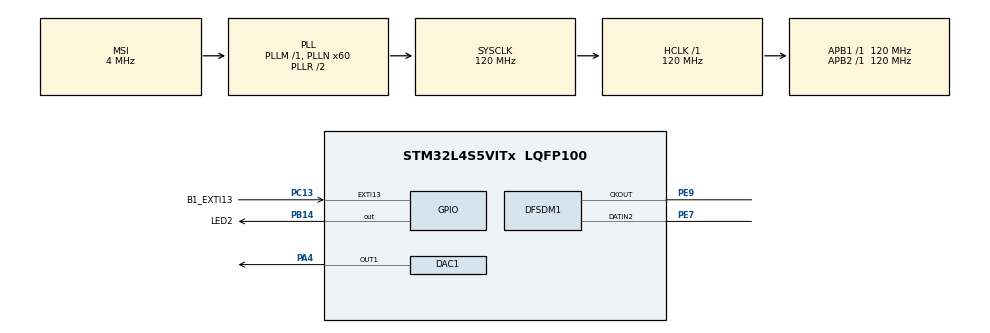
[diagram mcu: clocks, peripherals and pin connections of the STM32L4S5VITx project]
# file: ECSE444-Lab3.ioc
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DAC1.DAC_HighFrequency-DAC_OUT1=DAC_HIGH_FREQUENCY_INTERFACE_MODE_DISABLE
DAC1.DAC_Trigger-DAC_OUT1=DAC_TRIGGER_T2_TRGO
DFSDM1.Divider=60
DFSDM1.DmaMode_reg_FIL0=ENABLE
DFSDM1.FastMode_reg_FIL0=ENABLE
DFSDM1.Filter_regChannel_FIL0=DFSDM_CHANNEL_2
DFSDM1.Fosr_FIL0=250
DFSDM1.SincOrder_FIL0=DFSDM_FILTER_SINC3_ORDER
Dma.DAC1_CH1.0.Direction=DMA_MEMORY_TO_PERIPH
Dma.DAC1_CH1.0.EventEnable=DISABLE
Dma.DAC1_CH1.0.Instance=DMA1_Channel1
Dma.DAC1_CH1.0.MemDataAlignment=DMA_MDATAALIGN_WORD
Dma.DAC1_CH1.0.MemInc=DMA_MINC_ENABLE
Dma.DAC1_CH1.0.Mode=DMA_CIRCULAR
Dma.DAC1_CH1.0.PeriphDataAlignment=DMA_PDATAALIGN_HALFWORD
Dma.DAC1_CH1.0.PeriphInc=DMA_PINC_DISABLE
Dma.DAC1_CH1.0.Polarity=HAL_DMAMUX_REQUEST_GEN_RISING
Dma.DAC1_CH1.0.Priority=DMA_PRIORITY_LOW
Dma.DAC1_CH1.0.RequestNumber=1
Dma.DAC1_CH1.0.SignalID=NONE
Dma.DAC1_CH1.0.SyncEnable=DISABLE
Dma.DAC1_CH1.0.SyncPolarity=HAL_DMAMUX_SYNC_NO_EVENT
Dma.DAC1_CH1.0.SyncRequestNumber=1
Dma.DAC1_CH1.0.SyncSignalID=NONE
Dma.DFSDM1_FLT0.1.Direction=DMA_PERIPH_TO_MEMORY
Dma.DFSDM1_FLT0.1.EventEnable=DISABLE
Dma.DFSDM1_FLT0.1.Instance=DMA1_Channel2
Dma.DFSDM1_FLT0.1.MemDataAlignment=DMA_MDATAALIGN_WORD
Dma.DFSDM1_FLT0.1.MemInc=DMA_MINC_ENABLE
Dma.DFSDM1_FLT0.1.Mode=DMA_CIRCULAR
Dma.DFSDM1_FLT0.1.PeriphDataAlignment=DMA_PDATAALIGN_WORD
Dma.DFSDM1_FLT0.1.PeriphInc=DMA_PINC_DISABLE
Dma.DFSDM1_FLT0.1.Polarity=HAL_DMAMUX_REQUEST_GEN_RISING
Dma.DFSDM1_FLT0.1.Priority=DMA_PRIORITY_LOW
Dma.DFSDM1_FLT0.1.RequestNumber=1
Dma.DFSDM1_FLT0.1.SignalID=NONE
Dma.DFSDM1_FLT0.1.SyncEnable=DISABLE
Dma.DFSDM1_FLT0.1.SyncPolarity=HAL_DMAMUX_SYNC_NO_EVENT
Dma.DFSDM1_FLT0.1.SyncRequestNumber=1
Dma.DFSDM1_FLT0.1.SyncSignalID=NONE
Dma.Request0=DAC1_CH1
Dma.Request1=DFSDM1_FLT0
Mcu.Family=STM32L4
Mcu.Name=STM32L4S5VITx
Mcu.Package=LQFP100
NVIC.DMA1_Channel1_IRQn=true\:0\:0\:false\:false\:true\:false\:true\:true
NVIC.DMA1_Channel2_IRQn=true\:0\:0\:false\:false\:true\:false\:true\:true
NVIC.EXTI15_10_IRQn=true\:0\:0\:false\:false\:true\:true\:true\:true
NVIC.PriorityGroup=NVIC_PRIORITYGROUP_4
NVIC.TIM2_IRQn=true\:0\:0\:false\:false\:true\:true\:true\:true
PA4.Signal=COMP_DAC11_group
PB14.GPIO_Label=LED2
PB14.Signal=GPIO_Output
PB3\ (JTDO/TRACESWO).Signal=SYS_JTDO-SWO
PC13.GPIO_Label=B1_EXTI13
PC13.Signal=GPXTI13
PE7.Signal=S_DATAIN2DFSDM1
PE9.Signal=S_CKOUTDFSDM1
ProjectManager.HeapSize=0x200
ProjectManager.StackSize=0x400
ProjectManager.TargetToolchain=STM32CubeIDE
RCC.ADCFreq_Value=48000000
RCC.AHBFreq_Value=120000000
RCC.APB1Freq_Value=120000000
RCC.APB1TimFreq_Value=120000000
RCC.APB2Freq_Value=120000000
RCC.APB2TimFreq_Value=120000000
RCC.CortexFreq_Value=120000000
RCC.HCLKFreq_Value=120000000
RCC.HSE_VALUE=8000000
RCC.HSI48_VALUE=48000000
RCC.HSI_VALUE=16000000
RCC.LSE_VALUE=32768
RCC.MSI_VALUE=4000000
RCC.PLLN=60
RCC.PLLSAI1N=24
RCC.SYSCLKFreq_VALUE=120000000
RCC.SYSCLKSource=RCC_SYSCLKSOURCE_PLLCLK
RCC.USBFreq_Value=48000000
RCC.VCOOutputFreq_Value=240000000
SH.COMP_DAC11_group.0=DAC1_OUT1,DAC_OUT1
SH.S_CKOUTDFSDM1.0=DFSDM1_CKOUT,PDM_SPI_input_from_ch2_and_internal_clock
SH.S_DATAIN2DFSDM1.0=DFSDM1_DATIN2,PDM_SPI_input_from_ch2_and_internal_clock
TIM2.Period=15000
TIM2.TIM_MasterOutputTrigger=TIM_TRGO_UPDATE
VP_TIM2_VS_ClockSourceINT.Mode=Internal
board=B-L4S5I-IOT01A

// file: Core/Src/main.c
/* USER CODE BEGIN Header */
/**
  ******************************************************************************
  * @file           : main.c
  * @brief          : Main program body
  ******************************************************************************
  * @attention
  *
  * Copyright (c) 2026 STMicroelectronics.
  * All rights reserved.
  *
  * This software is licensed under terms that can be found in the LICENSE file
  * in the root directory of this software component.
  * If no LICENSE file comes with this software, it is provided AS-IS.
  *
  ******************************************************************************
  */
/* USER CODE END Header */
#include "main.h"

/* USER CODE BEGIN Includes */
#include "arm_math.h"
#include <stdbool.h>

/* USER CODE END Includes */

/* USER CODE BEGIN PD */

// Define pin and port names

#define B1_Pin GPIO_PIN_13
#define B1_Port GPIOC

#define LED2_Pin GPIO_PIN_14
#define LED2_Port GPIOB

// Define DAC Samples Scaling
#define SAMPLES 44
#define DAC_MAX 255 // for uint8_t
#define DAC_SCALE (2.0f/3.0f)

// Define Buffer Size for DMA
//make wayyyyy bigger
#define BUFFER_SIZE 20000

#define SINE_SAMPLES 64
#define SAMPLE_RATE 8000
#define NUM_NOTES 6
#define NOTE_DURATION_SAMPLES (SAMPLE_RATE / 2)

const uint32_t noteFreqs[NUM_NOTES] = {520, 660, 770, 880, 1100, 1300};
uint32_t noteTable[SINE_SAMPLES];
volatile uint32_t noteIndex = 0;
volatile uint32_t noteSample = 0;
volatile uint8_t currentNote = 0;
volatile uint8_t notesDone  = 0;

// state machine for states
typedef enum {
    IDLE,
    RECORDING,
    RECORDED,
    NOTES,
    PLAYBACK
} State;

/* USER CODE END PD */

DAC_HandleTypeDef hdac1;
DMA_HandleTypeDef hdma_dac1_ch1;

DFSDM_Filter_HandleTypeDef hdfsdm1_filter0;
DFSDM_Channel_HandleTypeDef hdfsdm1_channel2;
DMA_HandleTypeDef hdma_dfsdm1_flt0;

TIM_HandleTypeDef htim2;

/* USER CODE BEGIN PV */

//  Button Debouncing
static volatile uint8_t button_prev_state = 0;
static volatile uint8_t button_curr_state = 0;
static volatile uint32_t last_button_toggle_ms = 0;
static volatile uint32_t current_time_ms = 0;

// Sine Wave Array
static volatile uint8_t sine_index = 0;		// index into LUT
static volatile uint8_t sine_wave[SAMPLES];	// LUT
static float theta;								// Angle based on sine_index
static float value;								// sine value before scaling for DAC
static float checkVal;

// DFSDM Buffer
int32_t dfsdm_buffer[BUFFER_SIZE]; // DFSDM output (signed 24-bit in 32-bit words)

// DMA Buffer
uint32_t dac_buffer[BUFFER_SIZE];    // DAC buffer (12-bit right-aligned)

State state = IDLE;

volatile bool buffer_ready;

//

/* USER CODE END PV */

void SystemClock_Config(void);
static void MX_GPIO_Init(void);
static void MX_DMA_Init(void);
static void MX_TIM2_Init(void);
static void MX_DAC1_Init(void);
static void MX_DFSDM1_Init(void);
/* USER CODE BEGIN PFP */
void Start_Recording(void);
void Stop_Recording(void);
void Start_Playback(void);
void Stop_Playback(void);
void Process_Buffer(void);
void buildNoteTable(void);

/* USER CODE END PFP */

int main(void)
{

  /* MCU Configuration--------------------------------------------------------*/

  /* Reset of all peripherals, Initializes the Flash interface and the Systick. */
  HAL_Init();

  /* Configure the system clock */
  SystemClock_Config();

  /* Initialize all configured peripherals */
  MX_GPIO_Init();
  MX_DMA_Init();
  MX_TIM2_Init();
  MX_DAC1_Init();
  MX_DFSDM1_Init();
  /* USER CODE BEGIN 2 */

  // Calculate sine LUT
  while (sine_index < (SAMPLES)) {
  		    theta = 2.0f * 3.14159265359f * sine_index / SAMPLES;
  		    value = (DAC_MAX * DAC_SCALE / 2.0f) * (1.0f + arm_sin_f32(theta)); // offset added
  		    sine_wave[sine_index] = (uint8_t)(value + 0.5f); // round to nearest integer
  		    sine_index++;
  	} // while (sine_index < samples)

  // Start Timer 2 with Interrupt
  //HAL_TIM_Base_Start_IT(&htim2);

  // Start Timer 2 without Interrupt
  buildNoteTable();
  HAL_TIM_Base_Start_IT(&htim2);

  // Start DAC (NON-DMA mode)
  //HAL_DAC_Start(&hdac1, DAC_CHANNEL_1);

  // Start DAC with DMA
  // FOSR = clock / (divider * sampling rate)
  // divider = clock / working clock = 120/2.4 = 50
  // FOSR = 120 / (50 * 0.02
  //HAL_DAC_Start_DMA(&hdac1,
  //                  DAC_CHANNEL_1,
   //                 (uint32_t*)dac_buffer,
   //                 BUFFER_SIZE,
	//				DAC_ALIGN_12B_R);HAL_TIM_Base_Start(&htim2);

  // Start DFSDM1 DMA  (starts reading from microphone)
  //HAL_DFSDM_FilterRegularStart_DMA(&hdfsdm1_filter0,
  //                                 dfsdm_buffer,
  //                                 BUFFER_SIZE);

  /* USER CODE END 2 */

  /* Infinite loop */
  /* USER CODE BEGIN WHILE */
  while (1)
  {
	  // Removed while using DMA
	  //checkVal = sine_wave[sine_index];
	  //HAL_DAC_SetValue(&hdac1, DAC_CHANNEL_1, DAC_ALIGN_12B_R, sine_wave[sine_index]);

	  // Stop playback
	  //Stop_Playback();

	  // Start recording();
	  //Start_Recording();

	  // State Machine (FOR USE LATER)
	  switch(state) {
	      case IDLE:
	          HAL_GPIO_WritePin(LED2_GPIO_Port, LED2_Pin, GPIO_PIN_RESET);
	          break;

	      case RECORDING:
	          if (HAL_GetTick() - last_button_toggle_ms >= 200) {
	              HAL_GPIO_TogglePin(LED2_GPIO_Port, LED2_Pin);
	              last_button_toggle_ms = HAL_GetTick();
	          }
	          break;

	      case RECORDED:
	          // Slow blink = ready, waiting for button
	          if (HAL_GetTick() - last_button_toggle_ms >= 800) {
	              HAL_GPIO_TogglePin(LED2_GPIO_Port, LED2_Pin);
	              last_button_toggle_ms = HAL_GetTick();
	          }
	          break;

	      case NOTES:
	          HAL_GPIO_WritePin(LED2_GPIO_Port, LED2_Pin, GPIO_PIN_SET);
	          if (notesDone) {
	              notesDone = 0;
	              Start_Playback();
	          }
	          break;

	      case PLAYBACK:
	          HAL_GPIO_WritePin(LED2_GPIO_Port, LED2_Pin, GPIO_PIN_SET);
	          break;
	  }

    /* USER CODE END WHILE */

  }
}

void SystemClock_Config(void)
{
  RCC_OscInitTypeDef RCC_OscInitStruct = {0};
  RCC_ClkInitTypeDef RCC_ClkInitStruct = {0};

  /** Configure the main internal regulator output voltage
  */
  if (HAL_PWREx_ControlVoltageScaling(PWR_REGULATOR_VOLTAGE_SCALE1_BOOST) != HAL_OK)
  {
    Error_Handler();
  }

  /** Initializes the RCC Oscillators according to the specified parameters
  * in the RCC_OscInitTypeDef structure.
  */
  RCC_OscInitStruct.OscillatorType = RCC_OSCILLATORTYPE_MSI;
  RCC_OscInitStruct.MSIState = RCC_MSI_ON;
  RCC_OscInitStruct.MSICalibrationValue = 0;
  RCC_OscInitStruct.MSIClockRange = RCC_MSIRANGE_6;
  RCC_OscInitStruct.PLL.PLLState = RCC_PLL_ON;
  RCC_OscInitStruct.PLL.PLLSource = RCC_PLLSOURCE_MSI;
  RCC_OscInitStruct.PLL.PLLM = 1;
  RCC_OscInitStruct.PLL.PLLN = 60;
  RCC_OscInitStruct.PLL.PLLP = RCC_PLLP_DIV2;
  RCC_OscInitStruct.PLL.PLLQ = RCC_PLLQ_DIV2;
  RCC_OscInitStruct.PLL.PLLR = RCC_PLLR_DIV2;
  if (HAL_RCC_OscConfig(&RCC_OscInitStruct) != HAL_OK)
  {
    Error_Handler();
  }

  /** Initializes the CPU, AHB and APB buses clocks
  */
  RCC_ClkInitStruct.ClockType = RCC_CLOCKTYPE_HCLK|RCC_CLOCKTYPE_SYSCLK
                              |RCC_CLOCKTYPE_PCLK1|RCC_CLOCKTYPE_PCLK2;
  RCC_ClkInitStruct.SYSCLKSource = RCC_SYSCLKSOURCE_PLLCLK;
  RCC_ClkInitStruct.AHBCLKDivider = RCC_SYSCLK_DIV1;
  RCC_ClkInitStruct.APB1CLKDivider = RCC_HCLK_DIV1;
  RCC_ClkInitStruct.APB2CLKDivider = RCC_HCLK_DIV1;

  if (HAL_RCC_ClockConfig(&RCC_ClkInitStruct, FLASH_LATENCY_5) != HAL_OK)
  {
    Error_Handler();
  }
}

static void MX_DAC1_Init(void)
{

  DAC_ChannelConfTypeDef sConfig = {0};

  /** DAC Initialization
  */
  hdac1.Instance = DAC1;
  if (HAL_DAC_Init(&hdac1) != HAL_OK)
  {
    Error_Handler();
  }

  /** DAC channel OUT1 config
  */
  sConfig.DAC_SampleAndHold = DAC_SAMPLEANDHOLD_DISABLE;
  sConfig.DAC_Trigger = DAC_TRIGGER_T2_TRGO;
  sConfig.DAC_HighFrequency = DAC_HIGH_FREQUENCY_INTERFACE_MODE_DISABLE;
  sConfig.DAC_OutputBuffer = DAC_OUTPUTBUFFER_ENABLE;
  sConfig.DAC_ConnectOnChipPeripheral = DAC_CHIPCONNECT_DISABLE;
  sConfig.DAC_UserTrimming = DAC_TRIMMING_FACTORY;
  if (HAL_DAC_ConfigChannel(&hdac1, &sConfig, DAC_CHANNEL_1) != HAL_OK)
  {
    Error_Handler();
  }

}

static void MX_DFSDM1_Init(void)
{

  hdfsdm1_filter0.Instance = DFSDM1_Filter0;
  hdfsdm1_filter0.Init.RegularParam.Trigger = DFSDM_FILTER_SW_TRIGGER;
  hdfsdm1_filter0.Init.RegularParam.FastMode = ENABLE;
  hdfsdm1_filter0.Init.RegularParam.DmaMode = ENABLE;
  hdfsdm1_filter0.Init.FilterParam.SincOrder = DFSDM_FILTER_SINC3_ORDER;
  hdfsdm1_filter0.Init.FilterParam.Oversampling = 250;
  hdfsdm1_filter0.Init.FilterParam.IntOversampling = 1;
  if (HAL_DFSDM_FilterInit(&hdfsdm1_filter0) != HAL_OK)
  {
    Error_Handler();
  }
  hdfsdm1_channel2.Instance = DFSDM1_Channel2;
  hdfsdm1_channel2.Init.OutputClock.Activation = ENABLE;
  hdfsdm1_channel2.Init.OutputClock.Selection = DFSDM_CHANNEL_OUTPUT_CLOCK_SYSTEM;
  hdfsdm1_channel2.Init.OutputClock.Divider = 60;
  hdfsdm1_channel2.Init.Input.Multiplexer = DFSDM_CHANNEL_EXTERNAL_INPUTS;
  hdfsdm1_channel2.Init.Input.DataPacking = DFSDM_CHANNEL_STANDARD_MODE;
  hdfsdm1_channel2.Init.Input.Pins = DFSDM_CHANNEL_SAME_CHANNEL_PINS;
  hdfsdm1_channel2.Init.SerialInterface.Type = DFSDM_CHANNEL_SPI_RISING;
  hdfsdm1_channel2.Init.SerialInterface.SpiClock = DFSDM_CHANNEL_SPI_CLOCK_INTERNAL;
  hdfsdm1_channel2.Init.Awd.FilterOrder = DFSDM_CHANNEL_FASTSINC_ORDER;
  hdfsdm1_channel2.Init.Awd.Oversampling = 1;
  hdfsdm1_channel2.Init.Offset = 0;
  hdfsdm1_channel2.Init.RightBitShift = 0x00;
  if (HAL_DFSDM_ChannelInit(&hdfsdm1_channel2) != HAL_OK)
  {
    Error_Handler();
  }
  if (HAL_DFSDM_FilterConfigRegChannel(&hdfsdm1_filter0, DFSDM_CHANNEL_2, DFSDM_CONTINUOUS_CONV_ON) != HAL_OK)
  {
    Error_Handler();
  }

}

static void MX_TIM2_Init(void)
{

  TIM_ClockConfigTypeDef sClockSourceConfig = {0};
  TIM_MasterConfigTypeDef sMasterConfig = {0};

  htim2.Instance = TIM2;
  htim2.Init.Prescaler = 0;
  htim2.Init.CounterMode = TIM_COUNTERMODE_UP;
  htim2.Init.Period = 15000;
  htim2.Init.ClockDivision = TIM_CLOCKDIVISION_DIV1;
  htim2.Init.AutoReloadPreload = TIM_AUTORELOAD_PRELOAD_DISABLE;
  if (HAL_TIM_Base_Init(&htim2) != HAL_OK)
  {
    Error_Handler();
  }
  sClockSourceConfig.ClockSource = TIM_CLOCKSOURCE_INTERNAL;
  if (HAL_TIM_ConfigClockSource(&htim2, &sClockSourceConfig) != HAL_OK)
  {
    Error_Handler();
  }
  sMasterConfig.MasterOutputTrigger = TIM_TRGO_UPDATE;
  sMasterConfig.MasterSlaveMode = TIM_MASTERSLAVEMODE_DISABLE;
  if (HAL_TIMEx_MasterConfigSynchronization(&htim2, &sMasterConfig) != HAL_OK)
  {
    Error_Handler();
  }

}

static void MX_DMA_Init(void)
{

  /* DMA controller clock enable */
  __HAL_RCC_DMAMUX1_CLK_ENABLE();
  __HAL_RCC_DMA1_CLK_ENABLE();

  /* DMA interrupt init */
  /* DMA1_Channel1_IRQn interrupt configuration */
  HAL_NVIC_SetPriority(DMA1_Channel1_IRQn, 0, 0);
  HAL_NVIC_EnableIRQ(DMA1_Channel1_IRQn);
  /* DMA1_Channel2_IRQn interrupt configuration */
  HAL_NVIC_SetPriority(DMA1_Channel2_IRQn, 0, 0);
  HAL_NVIC_EnableIRQ(DMA1_Channel2_IRQn);

}

static void MX_GPIO_Init(void)
{
  GPIO_InitTypeDef GPIO_InitStruct = {0};

  /* GPIO Ports Clock Enable */
  __HAL_RCC_GPIOC_CLK_ENABLE();
  __HAL_RCC_GPIOA_CLK_ENABLE();
  __HAL_RCC_GPIOE_CLK_ENABLE();
  __HAL_RCC_GPIOB_CLK_ENABLE();

  /*Configure GPIO pin Output Level */
  HAL_GPIO_WritePin(LED2_GPIO_Port, LED2_Pin, GPIO_PIN_RESET);

  /*Configure GPIO pin : B1_EXTI13_Pin */
  GPIO_InitStruct.Pin = B1_EXTI13_Pin;
  GPIO_InitStruct.Mode = GPIO_MODE_IT_RISING;
  GPIO_InitStruct.Pull = GPIO_NOPULL;
  HAL_GPIO_Init(B1_EXTI13_GPIO_Port, &GPIO_InitStruct);

  /*Configure GPIO pin : LED2_Pin */
  GPIO_InitStruct.Pin = LED2_Pin;
  GPIO_InitStruct.Mode = GPIO_MODE_OUTPUT_PP;
  GPIO_InitStruct.Pull = GPIO_NOPULL;
  GPIO_InitStruct.Speed = GPIO_SPEED_FREQ_LOW;
  HAL_GPIO_Init(LED2_GPIO_Port, &GPIO_InitStruct);

  /* EXTI interrupt init*/
  HAL_NVIC_SetPriority(EXTI15_10_IRQn, 0, 0);
  HAL_NVIC_EnableIRQ(EXTI15_10_IRQn);

}

/* USER CODE BEGIN 4 */

void buildNoteTable(void) {
    for (int i = 0; i < SINE_SAMPLES; i++) {
        float angle = 2.0f * 3.14159f * i / SINE_SAMPLES;
        noteTable[i] = (uint32_t)(2048 + (int)(2000.0f * arm_sin_f32(angle)));
    }
}

// Function to start recording
void Start_Recording() {

	// set state
	state = RECORDING;

	// turn on LED
	//HAL_GPIO_WritePin(LED2_GPIO_Port, LED2_Pin, GPIO_PIN_SET);

	// start microphone
    HAL_DFSDM_FilterRegularStart_DMA(&hdfsdm1_filter0, dfsdm_buffer, BUFFER_SIZE);
}

// Function to stop recording
void Stop_Recording() {

	// don't update state, depends on what runs next

	// turn off LED
	//HAL_GPIO_WritePin(LED2_GPIO_Port, LED2_Pin, GPIO_PIN_RESET);

	// Stop putting data into DMA from speaker
    HAL_DFSDM_FilterRegularStop_DMA(&hdfsdm1_filter0);
}

// Function to process buffer
void Process_Buffer(){

	// variables
    uint32_t i;
    int32_t dfsdm_sample;
    uint16_t dac_data;

    // Loop over all new samples in dfsdm_buffer and put in dac_buffer
        for(i = 0; i < BUFFER_SIZE; i++)
        {

        	// Convert data type
        	/*
    		   * (int32) dfsdm_buffer[i] = <sign = 1><data = 24><garbage = 8>
    		   * remove 8 non-data bits, preserve 12 MSB of data
    		   * add 2^11 to convert signed -> unsigned
    		   * (uint16) dac_buffer[i] = <garbage = 4><data = 12>
    		*/

        	dfsdm_sample = ((int32_t)dfsdm_buffer[i] >> 8);  			// extract 23 bits of audio

        	dfsdm_sample = (int32_t)(dfsdm_sample * 12.0f); 				// amplify sample

        	dfsdm_sample = dfsdm_sample >> 12; 					// extract 12 MSb from 23 audio bits

        	dfsdm_sample = dfsdm_sample + 0x800; 		// convert to positive range

        	//data = ((dfsdm_buffer[i]>> 19) * 1.5) + 0x800;

        	// Place in dac_buffer with range clipping
        		// we are fitting 12 bit range inside 16 bit data type
        		// so therefore possible for larger numbers to exist

        	if (dfsdm_sample < 0) { // Negative values clip to 0
        		dac_buffer[i] = 0;
        	} // if
        	else if (dfsdm_sample > 0xFFF) { // Out of bounds positive clip to max
        		dac_buffer[i] = 4095;
        	} // else if
        	else { // Valid data in DAC buffer
        		dac_buffer[i] = (uint16_t)dfsdm_sample;
        	} // else
        } // for(i = 0; i < BUFFER_SIZE; i++)
} // void Process_Buffer(){

// Function to start speaker
void Start_Playback() {
    state = PLAYBACK;
    // DO NOT call HAL_TIM_Base_Start — timer is already running in IT mode
    HAL_DAC_Start_DMA(&hdac1, DAC_CHANNEL_1, (uint32_t*)dac_buffer, BUFFER_SIZE, DAC_ALIGN_12B_R);
}

// Function to stop playback
void Stop_Playback() {
    // DO NOT stop the timer — it needs to keep running for notes
    HAL_DAC_Stop_DMA(&hdac1, DAC_CHANNEL_1);
}

// Button Interrupt Handler
void HAL_GPIO_EXTI_Callback(uint16_t GPIO_Pin) {
    if (GPIO_Pin != B1_Pin) return;

    if (state == IDLE || state == RECORDED) {
        if (state == IDLE) {
            state = RECORDING;
            buffer_ready = false;
            Stop_Playback();
            Start_Recording();
        } else {
            currentNote = 0;
            noteIndex = 0;
            noteSample = 0;
            notesDone = 0;
            state = NOTES;
            HAL_DAC_Start(&hdac1, DAC_CHANNEL_1);
        }
    } else if (state == PLAYBACK) {
        Stop_Playback();
        state = RECORDING;
        buffer_ready = false;
        Start_Recording();
    }
}

void HAL_TIM_PeriodElapsedCallback(TIM_HandleTypeDef *htim) {
    if (htim != &htim2) {
    	return;
    }
    if (state != NOTES) {
    	return;
    }

    uint32_t step = (noteFreqs[currentNote] * SINE_SAMPLES) / SAMPLE_RATE;
    HAL_DAC_SetValue(&hdac1, DAC_CHANNEL_1, DAC_ALIGN_12B_R, noteTable[noteIndex]);
    noteIndex = (noteIndex + step) % SINE_SAMPLES;
    noteSample++;

    if (noteSample >= NOTE_DURATION_SAMPLES) {
        noteSample = 0;
        noteIndex = 0;
        currentNote++;
        if (currentNote >= NUM_NOTES) {
            notesDone = 1;
            state = PLAYBACK;
        }
    }
}

/*
 * Commented out while using DMA
// Timer Interrupt Handler
// HAL_TIM_Base_Start_IT is used OUTSIDE interupt to start timer
void HAL_TIM_PeriodElapsedCallback (TIM_HandleTypeDef * htim) {

	// Timer 2 -> increment index into LUT for DAC output
	if (htim == &htim2) {
		sine_index++;
		if (sine_index >= SAMPLES) {
		    sine_index = 0;
		} //(sine_index >= SAMPLES)

	} //if (htim == &htim2)
} //  void HAL_TIM_PeriodElapsedCallback (TIM_HandleTypeDef * htim)
*/

// Process DFSDM data when buffer is full
void HAL_DFSDM_FilterRegConvCpltCallback(DFSDM_Filter_HandleTypeDef *hdfsdm_filter) {
    Stop_Recording();
    Process_Buffer();
    buffer_ready = true;
    state = RECORDED;  // wait for button press, don't auto-play
    HAL_GPIO_WritePin(LED2_GPIO_Port, LED2_Pin, GPIO_PIN_RESET);
}

// Interupt to stop DAC after playing contents of buffer
void HAL_DAC_ConvCpltCallbackCh1(DAC_HandleTypeDef *hdac) {

    // Check if we are in playback state to avoid accidental stops
    if (state == PLAYBACK) {
        Stop_Playback();
        state = IDLE;

        HAL_GPIO_WritePin(LED2_GPIO_Port, LED2_Pin, GPIO_PIN_RESET);
    }
}

/* USER CODE END 4 */

void Error_Handler(void)
{
  __disable_irq();
  while (1)
  {
  }
}
